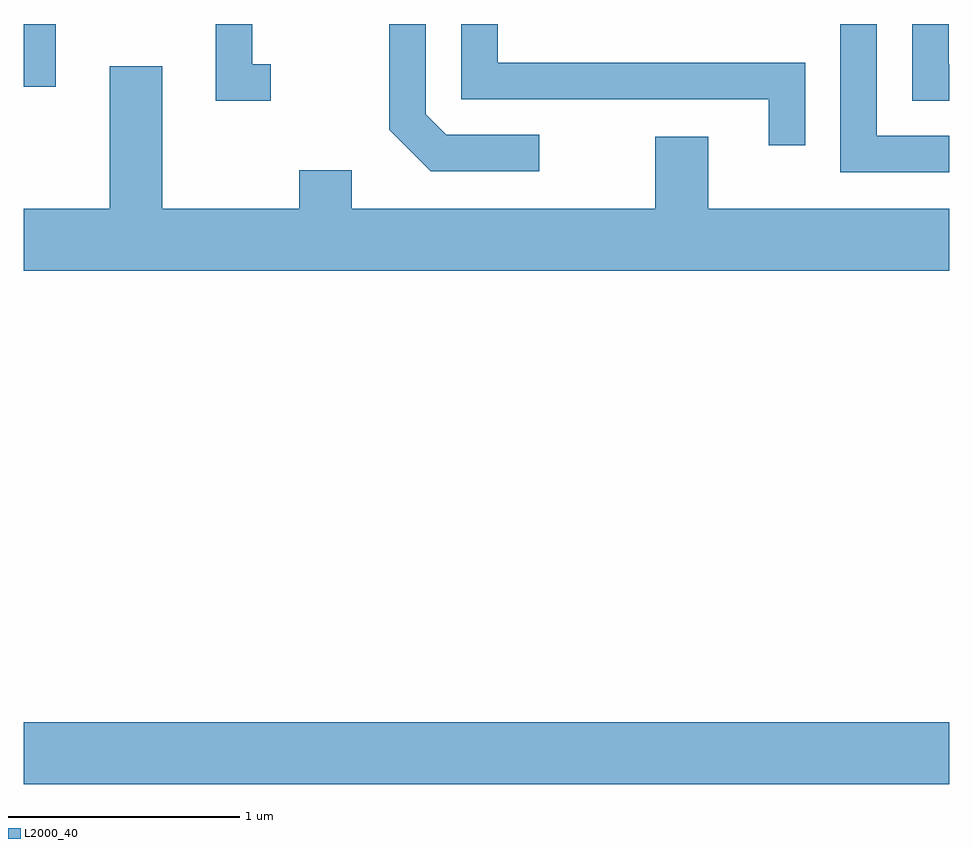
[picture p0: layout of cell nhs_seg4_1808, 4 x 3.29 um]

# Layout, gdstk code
import gdstk
lib = gdstk.Library(unit=1e-6, precision=1e-09)
def R(c, l, rs):  # rectangles x0, y0, x1, y1
    for r in rs: c.add(gdstk.rectangle(r[:2], r[2:], *l))
def P(c, l, *ps):  # polygons
    for p in ps: c.add(gdstk.Polygon(p, *l))
L2000_40 = (2000, 40)

nhs_seg4_1808 = lib.new_cell('nhs_seg4_1808')
R(nhs_seg4_1808, L2000_40, [(237.611,1334.696,241.611,1334.964), (237.611,1337.711,237.749,1337.982)])
P(nhs_seg4_1808, L2000_40, [(239.838,1337.504),(239.437,1337.504),(239.349,1337.592),(239.349,1337.982),(239.191,1337.982),(239.191,1337.524),(239.369,1337.346),(239.838,1337.346)],
  [(240.989,1337.814),(239.659,1337.814),(239.659,1337.982),(239.501,1337.982),(239.501,1337.656),(240.831,1337.656),(240.831,1337.458),(240.989,1337.458)],
  [(238.678,1337.809),(238.599,1337.809),(238.599,1337.982),(238.441,1337.982),(238.441,1337.651),(238.678,1337.651)],
  [(241.611,1337.809),(241.609,1337.809),(241.609,1337.982),(241.451,1337.982),(241.451,1337.651),(241.611,1337.651)],
  [(241.611,1337.499),(241.299,1337.499),(241.299,1337.982),(241.141,1337.982),(241.141,1337.341),(241.611,1337.341)],
  [(241.611,1337.184),(240.569,1337.184),(240.569,1337.494),(240.341,1337.494),(240.341,1337.184),(239.029,1337.184),(239.029,1337.349),(238.801,1337.349),(238.801,1337.184),(238.209,1337.184),(238.209,1337.799),(237.981,1337.799),(237.981,1337.184),(237.611,1337.184),(237.611,1336.916),(241.611,1336.916)])

lib.write_gds('nhs_seg4_1808.gds')
